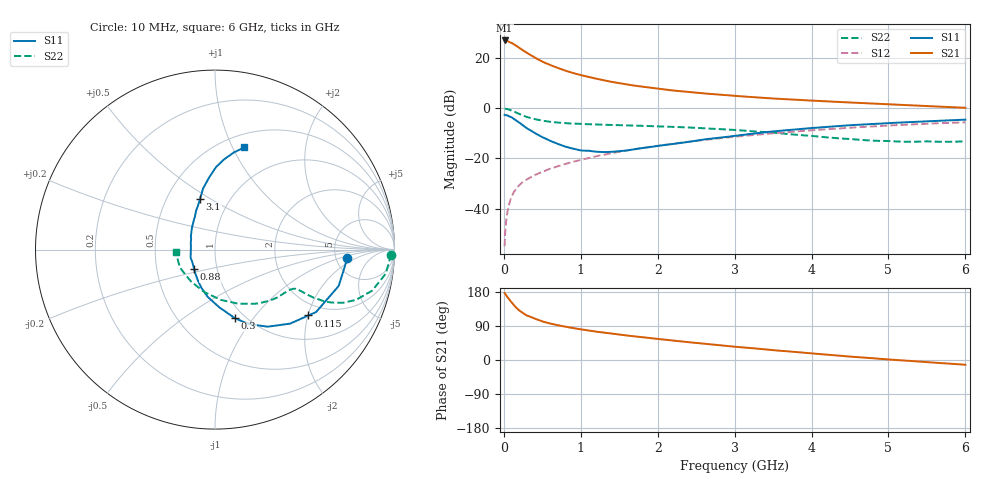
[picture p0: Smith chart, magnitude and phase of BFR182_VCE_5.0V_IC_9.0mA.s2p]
! Infineon Technologies  Discrete & RF Semiconductors
! BFR182
! VCE =  5.0 V,  IC =  9.0 mA
! Common Emitter S-Parameters:  Nov 2015
# GHz  S  MA  R  50
!  f  S11  S21  S12  S22
! GHz  MAG  ANG  MAG  ANG  MAG  ANG  MAG  ANG
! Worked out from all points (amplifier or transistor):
!   210 points, 10 MHz to 6 GHz, reference 50 ohm
!   highest |S21| = 27.0 dB at 10 MHz (marker M1)
!   |S21| within 3 dB of that: start of sweep to 204.2 MHz
!   unconditionally stable (mu >= 1): 843.8 MHz to 2.732 GHz
!   at 185 MHz: K = 0.48, MSG = 27.8 dB, |S12| = -31.2 dB
!   at 1.52 GHz: K = 1.05, MAG = 12.2 dB, |S12| = -17.2 dB
!   at 6 GHz: K = 0.89, MSG = 2.9 dB, |S12| = -5.6 dB
!   S11 on the Smith chart (normalised r, x): 10 MHz: 6.39, -1.27; 115 MHz: 1.63, -2.01; 300 MHz: 0.90, -0.82; 880 MHz: 0.77, -0.17; 3.1 GHz: 0.73, +0.45; 6 GHz: 0.63, +1.11
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0.01  0.7386 -3.5  22.34 176.6  0.0018 85.6  0.9833 -1.6
0.025  0.7277 -8.2  22.11 172.1  0.0047 86.5  0.972 -4.1
0.05  0.7182 -16.4  21.63 165.1  0.0092 82.2  0.9607 -8.0
0.1  0.662 -31.7  20.07 151.8  0.0175 76.4  0.9055 -14.6
0.115  0.6364 -35.2  19.37 148.4  0.0194 74.2  0.8831 -16.0
0.15  0.5873 -44.6  18.02 139.7  0.0239 70.4  0.8333 -19.7
0.2  0.5205 -55.6  15.98 131.0  0.0293 67.8  0.7712 -22.6
0.26  0.4432 -67.1  13.85 122.2  0.0354 65.9  0.7061 -24.6
0.3  0.399 -73.7  12.61 117.3  0.0385 66.3  0.6686 -25.4
0.4  0.3223 -85.8  10.2 109.0  0.0467 65.5  0.6071 -26.0
0.5  0.2666 -98.8  8.44 101.8  0.054 65.8  0.566 -26.0
0.6  0.2257 -109.6  7.26 96.3  0.0626 66.4  0.5369 -25.8
0.7  0.1954 -119.5  6.339 91.7  0.0697 67.2  0.5181 -25.8
0.88  0.1597 -136.7  5.127 85.0  0.0844 67.4  0.4973 -26.0
1.02  0.1439 -152.7  4.492 80.3  0.0954 67.5  0.4864 -26.7
1.4  0.1357 171.1  3.352 69.8  0.1272 66.7  0.4652 -30.0
1.7  0.1538 151.1  2.815 62.3  0.1534 65.1  0.4518 -33.2
2.02  0.1798 134.9  2.432 55.2  0.1812 63.1  0.4374 -37.6
3.1  0.2947 106.4  1.721 33.5  0.28 53.8  0.3606 -56.8
4.1  0.4145 93.4  1.395 15.8  0.3731 43.1  0.2719 -87.1
5.1  0.515 83.0  1.186 0.1  0.4611 31.0  0.2184 -132.0
6  0.5931 74.0  1.02 -12.6  0.5247 18.7  0.2197 -176.8
